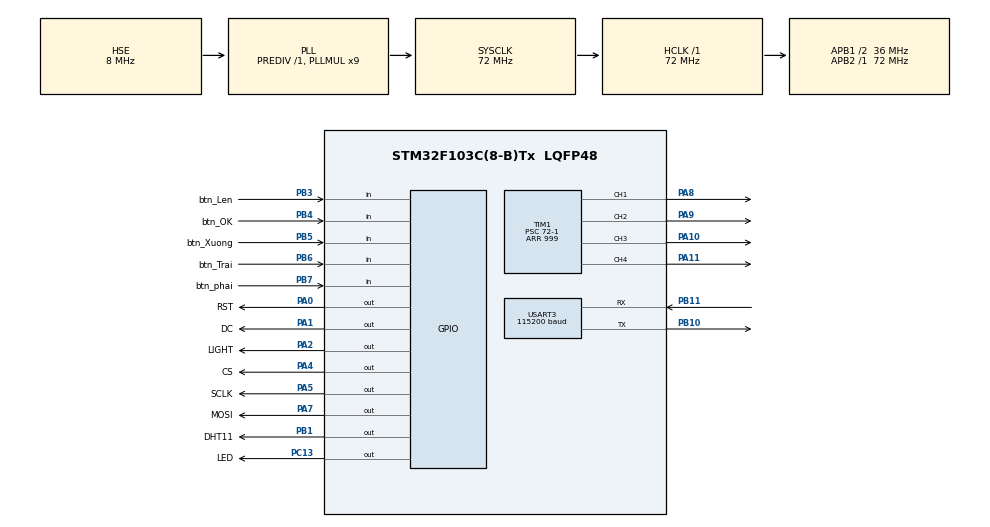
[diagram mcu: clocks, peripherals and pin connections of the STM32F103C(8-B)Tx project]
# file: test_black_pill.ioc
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Mcu.Family=STM32F1
Mcu.Name=STM32F103C(8-B)Tx
Mcu.Package=LQFP48
NVIC.PriorityGroup=NVIC_PRIORITYGROUP_4
PA0-WKUP.GPIO_Label=RST
PA0-WKUP.Signal=GPIO_Output
PA1.GPIO_Label=DC
PA1.Signal=GPIO_Output
PA10.Signal=S_TIM1_CH3
PA11.Signal=S_TIM1_CH4
PA13.Mode=Serial_Wire
PA13.Signal=SYS_JTMS-SWDIO
PA14.Mode=Serial_Wire
PA14.Signal=SYS_JTCK-SWCLK
PA2.GPIO_Label=LIGHT
PA2.Signal=GPIO_Output
PA4.GPIO_Label=CS
PA4.Signal=GPIO_Output
PA5.GPIO_Label=SCLK
PA5.Signal=GPIO_Output
PA7.GPIO_Label=MOSI
PA7.Signal=GPIO_Output
PA8.Signal=S_TIM1_CH1
PA9.Signal=S_TIM1_CH2
PB1.GPIO_Label=DHT11
PB1.Signal=GPIO_Output
PB10.Mode=Asynchronous
PB10.Signal=USART3_TX
PB11.Mode=Asynchronous
PB11.Signal=USART3_RX
PB3.GPIO_Label=btn_Len
PB3.GPIO_PuPd=GPIO_PULLUP
PB3.Signal=GPIO_Input
PB4.GPIO_Label=btn_OK
PB4.GPIO_PuPd=GPIO_PULLUP
PB4.Signal=GPIO_Input
PB5.GPIO_Label=btn_Xuong
PB5.GPIO_PuPd=GPIO_PULLUP
PB5.Signal=GPIO_Input
PB6.GPIO_Label=btn_Trai
PB6.GPIO_PuPd=GPIO_PULLUP
PB6.Signal=GPIO_Input
PB7.GPIO_Label=btn_phai
PB7.GPIO_PuPd=GPIO_PULLUP
PB7.Signal=GPIO_Input
PC13-TAMPER-RTC.GPIO_Label=LED
PC13-TAMPER-RTC.Signal=GPIO_Output
PD0-OSC_IN.Mode=HSE-External-Oscillator
PD0-OSC_IN.Signal=RCC_OSC_IN
PD1-OSC_OUT.Mode=HSE-External-Oscillator
PD1-OSC_OUT.Signal=RCC_OSC_OUT
ProjectManager.HeapSize=0x200
ProjectManager.StackSize=0x400
ProjectManager.TargetToolchain=STM32CubeIDE
RCC.AHBFreq_Value=72000000
RCC.APB1CLKDivider=RCC_HCLK_DIV2
RCC.APB1Freq_Value=36000000
RCC.APB1TimFreq_Value=72000000
RCC.APB2Freq_Value=72000000
RCC.APB2TimFreq_Value=72000000
RCC.HCLKFreq_Value=72000000
RCC.PLLMUL=RCC_PLL_MUL9
RCC.PLLSourceVirtual=RCC_PLLSOURCE_HSE
RCC.SYSCLKFreq_VALUE=72000000
RCC.SYSCLKSource=RCC_SYSCLKSOURCE_PLLCLK
RCC.USBFreq_Value=72000000
SH.S_TIM1_CH1.0=TIM1_CH1,PWM Generation1 CH1
SH.S_TIM1_CH2.0=TIM1_CH2,PWM Generation2 CH2
SH.S_TIM1_CH3.0=TIM1_CH3,PWM Generation3 CH3
SH.S_TIM1_CH4.0=TIM1_CH4,PWM Generation4 CH4
TIM1.Channel-PWM\ Generation1\ CH1=TIM_CHANNEL_1
TIM1.Channel-PWM\ Generation2\ CH2=TIM_CHANNEL_2
TIM1.Channel-PWM\ Generation3\ CH3=TIM_CHANNEL_3
TIM1.Channel-PWM\ Generation4\ CH4=TIM_CHANNEL_4
TIM1.Period=999
TIM1.Prescaler=72-1
TIM1.Pulse-PWM\ Generation1\ CH1=0
TIM1.Pulse-PWM\ Generation2\ CH2=0
TIM1.Pulse-PWM\ Generation3\ CH3=499
TIM1.Pulse-PWM\ Generation4\ CH4=499
TIM4.Period=0xffff-1
TIM4.Prescaler=72-1
USART3.BaudRate=115200
USART3.VirtualMode=VM_ASYNC
VP_TIM1_VS_ClockSourceINT.Mode=Internal
VP_TIM4_VS_ClockSourceINT.Mode=Internal
board=custom

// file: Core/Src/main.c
/* USER CODE BEGIN Header */
/**
  ******************************************************************************
  * @file           : main.c
  * @brief          : Main program body
  ******************************************************************************
  * @attention
  *
  * <h2><center>&copy; Copyright (c) 2020 STMicroelectronics.
  * All rights reserved.</center></h2>
  *
  * This software component is licensed by ST under BSD 3-Clause license,
  * the "License"; You may not use this file except in compliance with the
  * License. You may obtain a copy of the License at:
  *                        opensource.org/licenses/BSD-3-Clause
  *
  ******************************************************************************
  */
/* USER CODE END Header */

#include "main.h"

/* USER CODE BEGIN Includes */
#include "stdio.h"
#include "5110.h"
/* USER CODE END Includes */

/* USER CODE BEGIN PM */
void Delay_us(uint16_t time_us);								//Delay us using Timer1. (max 65535us)
void Set_Pin_Output(GPIO_TypeDef *GPIOx, uint16_t GPIO_Pin);	// Configure GPIO_OUTPUT
void Set_Pin_Input(GPIO_TypeDef *GPIOx, uint16_t GPIO_Pin);		// Configure GPIO_INPUT
void DHT_Start();												// Send a signal respons DHT11 sensor Start
uint8_t DHT_Check_Response();									// Check Response of DHT. return '1' if availible
uint8_t DHT_Read_Data();
/* USER CODE END PM */

TIM_HandleTypeDef htim1;
TIM_HandleTypeDef htim4;

UART_HandleTypeDef huart3;

/* USER CODE BEGIN PV */
 unsigned short Mode_menu=1,Mode_giamsat=1,Mode_cambien=1;
 char c;
 unsigned char vruc_Cycle;
 unsigned char vruc_Count;
 unsigned char T=40,H=100;
 uint8_t int_RH, dec_RH, int_T, dec_T, Check_Sum, Respones_State;
 uint8_t d1,d2,d3;
 uint8_t Mode_Color,Mode_LCD=1;
 uint16_t delaymain=0;
/* USER CODE END PV */

void SystemClock_Config(void);
static void MX_GPIO_Init(void);
static void MX_TIM1_Init(void);
static void MX_TIM4_Init(void);
static void MX_USART3_UART_Init(void);

int main(void)
{

  /* MCU Configuration--------------------------------------------------------*/

  /* Reset of all peripherals, Initializes the Flash interface and the Systick. */
  HAL_Init();

  /* Configure the system clock */
  SystemClock_Config();

  /* Initialize all configured peripherals */
  MX_GPIO_Init();
  MX_TIM1_Init();
  MX_TIM4_Init();
  MX_USART3_UART_Init();
  /* USER CODE BEGIN 2 */
	HAL_TIM_PWM_Start(&htim1,TIM_CHANNEL_1);
	HAL_TIM_PWM_Start(&htim1,TIM_CHANNEL_2);
	HAL_TIM_PWM_Start(&htim1,TIM_CHANNEL_3);
	HAL_TIM_Base_Start(&htim4);

// khoi tao cam bien DHT11
		DHT_Start();
		Respones_State = DHT_Check_Response();
		int_RH = DHT_Read_Data();
		dec_RH = DHT_Read_Data();
		int_T  = DHT_Read_Data();
		dec_T	 = DHT_Read_Data();
		Check_Sum = DHT_Read_Data();
// khoi tao LCD
		LCD5110_setup();
		PCD8544_backlight_state(ON);
		HAL_Delay(2000);
		PCD8544_backlight_state(OFF);
		HAL_Delay(2000);
		PCD8544_clear_screen(WHITE);
		PCD8544_backlight_state(ON);
		HAL_Delay(3000);
		PCD8544_clear_screen(WHITE);
  /* USER CODE END 2 */

  /* Infinite loop */
  /* USER CODE BEGIN WHILE */
  while (1)
  {
//		if(!HAL_GPIO_ReadPin(btn_Mode_Color_GPIO_Port, btn_Mode_Color_Pin))
//		{
//		while(!HAL_GPIO_ReadPin(btn_Mode_Color_GPIO_Port, btn_Mode_Color_Pin)); Mode_Color++;
//		}
//		if(!HAL_GPIO_ReadPin(btn_Mode_LCD_GPIO_Port,btn_Mode_LCD_Pin))
//		{
//		while(!HAL_GPIO_ReadPin(btn_Mode_LCD_GPIO_Port,btn_Mode_LCD_Pin)); Mode_LCD++;
//		}

	  // doc DHT11

		if( HAL_UART_Receive(&huart3, &c,1, 0)==HAL_OK)
		 {  switch (c)
		   {

				 case  'a' : {Mode_Color=1; printf("color1\r\n");break;}
				 case  'b' : {Mode_Color=2; printf("color2\r\n");break;}
				 case  'c' : {Mode_Color=3; printf("color3\r\n");break;}
				 case  'd' : {Mode_Color=4; printf("color4\r\n");break;}
				 case  'e' : {Mode_Color=5; printf("color5\r\n");break;}
				 case  'f' : {Mode_Color=6; vruc_Cycle = 0; vruc_Count = 0;printf("color6\r\n"); break;}
				 case  'g' : {Mode_LCD=1;printf("Mode Menu 1\r\n");break;}
				 case  'h' : {Mode_LCD=2;printf("Mode Menu 2\r\n");break;}
				 case  'i' : {Mode_LCD=3;printf("Mode Menu 3\r\n");break;}
				 case  'k' : {Mode_LCD=4;printf("Mode Menu 4\r\n");break;}
		   }

		 }
		switch(Mode_Color)
		{

			case 1:
			   {
					bam_xung (1,99,99 );
					break;
			   }
			case 2:
			   {
					bam_xung (99,1,99 );
					break;
			   }
			case 3:
			   {
					bam_xung (99,99,1);
					break;
			   }
			case 4:
			   {
					bam_xung (1,1,99);
					break;
			   }
			case 5:
			   {
					bam_xung (99,1,1);
					break;
				}
			case 6:
			   {
				   vruc_Count++;
				   if(vruc_Count > 99)
				   {
					   vruc_Count = 0;
					   vruc_Cycle++;

					   if(vruc_Cycle > 5)
					   {
						   vruc_Cycle = 0;

					   }

				   }

				   switch(vruc_Cycle){
					case 0:
						bam_xung (99,vruc_Count,1);
						break;
					case 1:
						bam_xung (99-vruc_Count,99,1);
						break;
					case 2:
						bam_xung (1,99,vruc_Count);
						break;
					case 3:
						bam_xung (1,99-vruc_Count,99);
						break;
					case 4:
						bam_xung (vruc_Count,1,99);
						break;
					case 5:
						bam_xung (99,1,99-vruc_Count);
						break;
					default:
						break;
				   }

				   break;
			   }
			default:
				Mode_Color=1;break;
		}
		switch(Mode_LCD)
		 {
		  case 1: {
					//che do hien thi MAIN MENU
					PCD8544_clear_screen(WHITE);
					PCD8544_print_string(1, 0, "    MAIN MENU   ", BLACK);
					PCD8544_print_string(1, 2, "Cam Bien", WHITE);
					PCD8544_print_string(1, 3, "Giam Sat", WHITE);
					PCD8544_print_string(1, 4, "R G B", WHITE);

					if(!HAL_GPIO_ReadPin(btn_Xuong_GPIO_Port,btn_Xuong_Pin))
					{
						while(!HAL_GPIO_ReadPin(btn_Xuong_GPIO_Port,btn_Xuong_Pin));
						Mode_menu++;
						if(Mode_menu>3) Mode_menu=3;
					}
					if(!HAL_GPIO_ReadPin(btn_Len_GPIO_Port,btn_Len_Pin))
					{
						while(!HAL_GPIO_ReadPin(btn_Len_GPIO_Port,btn_Len_Pin));
						Mode_menu--;
						if(Mode_menu<1) Mode_menu=1;
					}
					switch(Mode_menu)
					   {
						case 1:
						{
							PCD8544_print_string(1, 2, "Cam Bien",BLACK);
							PCD8544_print_string(1, 3, "Giam Sat", WHITE);
							PCD8544_print_string(1, 4, "R G B", WHITE);
							if(!HAL_GPIO_ReadPin(btn_OK_GPIO_Port, btn_OK_Pin))
							{
								while(!HAL_GPIO_ReadPin(btn_OK_GPIO_Port, btn_OK_Pin));
								Mode_LCD=2;
							}
							break;
						}
						case 2:
						{
							PCD8544_print_string(1, 2, "Cam Bien", WHITE);
							PCD8544_print_string(1, 3, "Giam Sat", BLACK);
							PCD8544_print_string(1, 4, "R G B", WHITE);
							if(!HAL_GPIO_ReadPin(btn_OK_GPIO_Port, btn_OK_Pin))
							{
								while(!HAL_GPIO_ReadPin(btn_OK_GPIO_Port, btn_OK_Pin));
								Mode_LCD=3;
							}
							break;
						}
						case 3:
						{
							PCD8544_print_string(1, 2, "Cam Bien", WHITE);
							PCD8544_print_string(1, 3, "Giam Sat", WHITE);
							PCD8544_print_string(1, 4, "R G B", BLACK);
							if(!HAL_GPIO_ReadPin(btn_OK_GPIO_Port, btn_OK_Pin))
							{
								while(!HAL_GPIO_ReadPin(btn_OK_GPIO_Port, btn_OK_Pin));
								Mode_LCD=4;
							}
							break;
						}
						default: Mode_menu=1;break;
					}
					break;
				  }
		  case 2: {
					//che do hien thi nhiet do va do am len LCD
					PCD8544_clear_screen(WHITE);
					PCD8544_print_string(1, 0, "    Cam Bien    ", BLACK);
					PCD8544_print_string(1, 2, "Nhiet Do:", WHITE);print_int(45, 2,int_T, WHITE); PCD8544_set_cursor(70,2);PCD8544_print_char('C',WHITE);
					PCD8544_print_string(1, 3, "Do Am:", WHITE);print_int(45, 3,int_RH, WHITE); PCD8544_set_cursor(70,3);PCD8544_print_char('%',WHITE);
					if(!HAL_GPIO_ReadPin(btn_phai_GPIO_Port, btn_phai_Pin))
					{
						while(!HAL_GPIO_ReadPin(btn_phai_GPIO_Port, btn_phai_Pin));
                        Mode_cambien=1;
					}
					if(!HAL_GPIO_ReadPin(btn_Trai_GPIO_Port, btn_Trai_Pin))
					{
						while(!HAL_GPIO_ReadPin(btn_Trai_GPIO_Port, btn_Trai_Pin));
						Mode_cambien=2;
					}
					switch(Mode_cambien)
					{
					 case 1:
					 {int F= (9*int_T)/5+32;
					   PCD8544_print_string(1, 2, "Nhiet Do:", WHITE);print_int(45, 2,F, WHITE); PCD8544_set_cursor(70,2);PCD8544_print_char('F',WHITE);
					   PCD8544_print_string(1, 3, "Do Am:", WHITE);print_int(45, 3,int_RH, WHITE); PCD8544_set_cursor(70,3);PCD8544_print_char('%',WHITE);
					   break;
					 }
					 case 2:
					 {
					   PCD8544_print_string(1, 2, "Nhiet Do:", WHITE);print_int(45, 2,int_T, WHITE); PCD8544_set_cursor(70,2);PCD8544_print_char('C',WHITE);
					   PCD8544_print_string(1, 3, "Do Am:", WHITE);print_int(45, 3,int_RH, WHITE); PCD8544_set_cursor(70,3);PCD8544_print_char('%',WHITE);
					   break;
					 }
					}
					if(int_T>=T&&int_RH<H)
					{
					 PCD8544_print_string(1, 4, "     OVER T!    ", BLACK);	printf("OVER TEMPT!\r\n");
					}
					else if(int_RH>=H&&int_T<T)
					{
						PCD8544_print_string(1, 4, "     OVER H!    ", BLACK); printf("OVER HUM!\r\n");
					}
					else if(int_T>=T&&int_RH>=H)
					{
						PCD8544_print_string(1, 4, "    OVER T&H!   ", BLACK); printf("OVER HUM!\r\n");
					}
					else PCD8544_print_string(1, 4, "     SAVE    ", WHITE);
					if(!HAL_GPIO_ReadPin(btn_OK_GPIO_Port, btn_OK_Pin))
					{
						while(!HAL_GPIO_ReadPin(btn_OK_GPIO_Port, btn_OK_Pin));
						Mode_LCD=1;
					}
					break;
				  }
		  case 3: {
			        //che do giam sat nhiet do va do am len LCD
					PCD8544_clear_screen(WHITE);
					PCD8544_print_string(1, 0, "    Giam Sat    ", BLACK);
					PCD8544_print_string(1, 2, "Over T:", WHITE);print_int(45, 2,T, WHITE); PCD8544_set_cursor(70,2);PCD8544_print_char('C',WHITE);
					PCD8544_print_string(1, 3, "Over H:", WHITE);print_int(45, 3,H, WHITE); PCD8544_set_cursor(70,3);PCD8544_print_char('%',WHITE);

			        if(!HAL_GPIO_ReadPin(btn_Xuong_GPIO_Port,btn_Xuong_Pin))
					{
						while(!HAL_GPIO_ReadPin(btn_Xuong_GPIO_Port,btn_Xuong_Pin));
						Mode_giamsat++;
						if(Mode_giamsat>2) Mode_giamsat=2;
					}
					if(!HAL_GPIO_ReadPin(btn_Len_GPIO_Port,btn_Len_Pin))
					{
						while(!HAL_GPIO_ReadPin(btn_Len_GPIO_Port,btn_Len_Pin));
						Mode_giamsat--;
						if(Mode_giamsat<1) Mode_giamsat=1;
					}
					switch(Mode_giamsat)
					{
					 case 1:
					 {
						PCD8544_print_string(1, 2, "Over T:", BLACK);print_int(45, 2,T, WHITE); PCD8544_set_cursor(70,2);PCD8544_print_char('C',WHITE);
						PCD8544_print_string(1, 3, "Over H:", WHITE);print_int(45, 3,H, WHITE); PCD8544_set_cursor(70,3);PCD8544_print_char('%',WHITE);
						if(!HAL_GPIO_ReadPin(btn_phai_GPIO_Port, btn_phai_Pin))
						{
						  while(!HAL_GPIO_ReadPin(btn_phai_GPIO_Port, btn_phai_Pin));
						  T++;
						  if(T>50) T=50;
						}
						if(!HAL_GPIO_ReadPin(btn_Trai_GPIO_Port, btn_Trai_Pin))
						{
						  while(!HAL_GPIO_ReadPin(btn_Trai_GPIO_Port, btn_Trai_Pin));
						  T--;
						  if(T<0) T=0;
						}
						break;
					 }
					 case 2:
					 {
						PCD8544_print_string(1, 2, "Over T:",WHITE );print_int(45, 2,T, WHITE); PCD8544_set_cursor(70,2);PCD8544_print_char('C',WHITE);
						PCD8544_print_string(1, 3, "Over H:", BLACK);print_int(45, 3,H, WHITE); PCD8544_set_cursor(70,3);PCD8544_print_char('%',WHITE);
						if(!HAL_GPIO_ReadPin(btn_phai_GPIO_Port, btn_phai_Pin))
						{
						  while(!HAL_GPIO_ReadPin(btn_phai_GPIO_Port, btn_phai_Pin));
						  H++;
						  if(H>100) H=100;
						}
						if(!HAL_GPIO_ReadPin(btn_Trai_GPIO_Port, btn_Trai_Pin))
						{
						  while(!HAL_GPIO_ReadPin(btn_Trai_GPIO_Port, btn_Trai_Pin));
						  H--;
						  if(H<20) H=20;
						}
						break;
					 }
					}

					if(!HAL_GPIO_ReadPin(btn_OK_GPIO_Port, btn_OK_Pin))
					{
						while(!HAL_GPIO_ReadPin(btn_OK_GPIO_Port, btn_OK_Pin));
						Mode_LCD=1;
					}
					break;
				  }
		  case 4: {
					//hien thi che do RGB len LCD
					PCD8544_clear_screen(WHITE);
					if(!HAL_GPIO_ReadPin(btn_Len_GPIO_Port, btn_Len_Pin))
					{
					  while(!HAL_GPIO_ReadPin(btn_Len_GPIO_Port, btn_Len_Pin));
					  Mode_Color++;
					}
					if(!HAL_GPIO_ReadPin(btn_Xuong_GPIO_Port, btn_Xuong_Pin))
					{
					  while(!HAL_GPIO_ReadPin(btn_Xuong_GPIO_Port, btn_Xuong_Pin));
					  Mode_Color--;
					}
					PCD8544_print_string(1, 0, "      R G B     ", BLACK);
					PCD8544_print_string(1, 1, "Color:", WHITE);print_int(45, 1,Mode_Color, WHITE);
					PCD8544_print_string(1, 2, "% R:", WHITE);print_int(45, 2,d1, WHITE);
					PCD8544_print_string(1, 3, "% G:", WHITE);print_int(45, 3,d2, WHITE);
					PCD8544_print_string(1, 4, "% B:", WHITE);print_int(45, 4,d3, WHITE);
					if(!HAL_GPIO_ReadPin(btn_OK_GPIO_Port, btn_OK_Pin))
					{
						while(!HAL_GPIO_ReadPin(btn_OK_GPIO_Port, btn_OK_Pin));
						Mode_LCD=1;
					}
					break;
				  }
		 }
		if(delaymain>20)
		{
			DHT_Start();
			Respones_State = DHT_Check_Response();
			int_RH = DHT_Read_Data();
			dec_RH = DHT_Read_Data();
			int_T  = DHT_Read_Data();
			dec_T  = DHT_Read_Data();
			Check_Sum = DHT_Read_Data();
			printf("nhiet do: %d\r\n", int_T);
			printf("Do am: %d\r\n", int_RH);
			//HAL_Delay(2000);

		 delaymain=0;
		}
		HAL_Delay(50);
		delaymain++;
    /* USER CODE END WHILE */

  }
}

void SystemClock_Config(void)
{
  RCC_OscInitTypeDef RCC_OscInitStruct = {0};
  RCC_ClkInitTypeDef RCC_ClkInitStruct = {0};

  /** Initializes the CPU, AHB and APB busses clocks
  */
  RCC_OscInitStruct.OscillatorType = RCC_OSCILLATORTYPE_HSE;
  RCC_OscInitStruct.HSEState = RCC_HSE_ON;
  RCC_OscInitStruct.HSEPredivValue = RCC_HSE_PREDIV_DIV1;
  RCC_OscInitStruct.HSIState = RCC_HSI_ON;
  RCC_OscInitStruct.PLL.PLLState = RCC_PLL_ON;
  RCC_OscInitStruct.PLL.PLLSource = RCC_PLLSOURCE_HSE;
  RCC_OscInitStruct.PLL.PLLMUL = RCC_PLL_MUL9;
  if (HAL_RCC_OscConfig(&RCC_OscInitStruct) != HAL_OK)
  {
    Error_Handler();
  }
  /** Initializes the CPU, AHB and APB busses clocks
  */
  RCC_ClkInitStruct.ClockType = RCC_CLOCKTYPE_HCLK|RCC_CLOCKTYPE_SYSCLK
                              |RCC_CLOCKTYPE_PCLK1|RCC_CLOCKTYPE_PCLK2;
  RCC_ClkInitStruct.SYSCLKSource = RCC_SYSCLKSOURCE_PLLCLK;
  RCC_ClkInitStruct.AHBCLKDivider = RCC_SYSCLK_DIV1;
  RCC_ClkInitStruct.APB1CLKDivider = RCC_HCLK_DIV2;
  RCC_ClkInitStruct.APB2CLKDivider = RCC_HCLK_DIV1;

  if (HAL_RCC_ClockConfig(&RCC_ClkInitStruct, FLASH_LATENCY_2) != HAL_OK)
  {
    Error_Handler();
  }
}

static void MX_TIM1_Init(void)
{

  TIM_ClockConfigTypeDef sClockSourceConfig = {0};
  TIM_MasterConfigTypeDef sMasterConfig = {0};
  TIM_OC_InitTypeDef sConfigOC = {0};
  TIM_BreakDeadTimeConfigTypeDef sBreakDeadTimeConfig = {0};

  htim1.Instance = TIM1;
  htim1.Init.Prescaler = 72-1;
  htim1.Init.CounterMode = TIM_COUNTERMODE_UP;
  htim1.Init.Period = 999;
  htim1.Init.ClockDivision = TIM_CLOCKDIVISION_DIV1;
  htim1.Init.RepetitionCounter = 0;
  htim1.Init.AutoReloadPreload = TIM_AUTORELOAD_PRELOAD_DISABLE;
  if (HAL_TIM_Base_Init(&htim1) != HAL_OK)
  {
    Error_Handler();
  }
  sClockSourceConfig.ClockSource = TIM_CLOCKSOURCE_INTERNAL;
  if (HAL_TIM_ConfigClockSource(&htim1, &sClockSourceConfig) != HAL_OK)
  {
    Error_Handler();
  }
  if (HAL_TIM_PWM_Init(&htim1) != HAL_OK)
  {
    Error_Handler();
  }
  sMasterConfig.MasterOutputTrigger = TIM_TRGO_RESET;
  sMasterConfig.MasterSlaveMode = TIM_MASTERSLAVEMODE_DISABLE;
  if (HAL_TIMEx_MasterConfigSynchronization(&htim1, &sMasterConfig) != HAL_OK)
  {
    Error_Handler();
  }
  sConfigOC.OCMode = TIM_OCMODE_PWM1;
  sConfigOC.Pulse = 0;
  sConfigOC.OCPolarity = TIM_OCPOLARITY_HIGH;
  sConfigOC.OCNPolarity = TIM_OCNPOLARITY_HIGH;
  sConfigOC.OCFastMode = TIM_OCFAST_DISABLE;
  sConfigOC.OCIdleState = TIM_OCIDLESTATE_RESET;
  sConfigOC.OCNIdleState = TIM_OCNIDLESTATE_RESET;
  if (HAL_TIM_PWM_ConfigChannel(&htim1, &sConfigOC, TIM_CHANNEL_1) != HAL_OK)
  {
    Error_Handler();
  }
  if (HAL_TIM_PWM_ConfigChannel(&htim1, &sConfigOC, TIM_CHANNEL_2) != HAL_OK)
  {
    Error_Handler();
  }
  sConfigOC.Pulse = 499;
  if (HAL_TIM_PWM_ConfigChannel(&htim1, &sConfigOC, TIM_CHANNEL_3) != HAL_OK)
  {
    Error_Handler();
  }
  if (HAL_TIM_PWM_ConfigChannel(&htim1, &sConfigOC, TIM_CHANNEL_4) != HAL_OK)
  {
    Error_Handler();
  }
  sBreakDeadTimeConfig.OffStateRunMode = TIM_OSSR_DISABLE;
  sBreakDeadTimeConfig.OffStateIDLEMode = TIM_OSSI_DISABLE;
  sBreakDeadTimeConfig.LockLevel = TIM_LOCKLEVEL_OFF;
  sBreakDeadTimeConfig.DeadTime = 0;
  sBreakDeadTimeConfig.BreakState = TIM_BREAK_DISABLE;
  sBreakDeadTimeConfig.BreakPolarity = TIM_BREAKPOLARITY_HIGH;
  sBreakDeadTimeConfig.AutomaticOutput = TIM_AUTOMATICOUTPUT_DISABLE;
  if (HAL_TIMEx_ConfigBreakDeadTime(&htim1, &sBreakDeadTimeConfig) != HAL_OK)
  {
    Error_Handler();
  }
  HAL_TIM_MspPostInit(&htim1);

}

static void MX_TIM4_Init(void)
{

  TIM_ClockConfigTypeDef sClockSourceConfig = {0};
  TIM_MasterConfigTypeDef sMasterConfig = {0};

  htim4.Instance = TIM4;
  htim4.Init.Prescaler = 72-1;
  htim4.Init.CounterMode = TIM_COUNTERMODE_UP;
  htim4.Init.Period = 0xffff-1;
  htim4.Init.ClockDivision = TIM_CLOCKDIVISION_DIV1;
  htim4.Init.AutoReloadPreload = TIM_AUTORELOAD_PRELOAD_DISABLE;
  if (HAL_TIM_Base_Init(&htim4) != HAL_OK)
  {
    Error_Handler();
  }
  sClockSourceConfig.ClockSource = TIM_CLOCKSOURCE_INTERNAL;
  if (HAL_TIM_ConfigClockSource(&htim4, &sClockSourceConfig) != HAL_OK)
  {
    Error_Handler();
  }
  sMasterConfig.MasterOutputTrigger = TIM_TRGO_RESET;
  sMasterConfig.MasterSlaveMode = TIM_MASTERSLAVEMODE_DISABLE;
  if (HAL_TIMEx_MasterConfigSynchronization(&htim4, &sMasterConfig) != HAL_OK)
  {
    Error_Handler();
  }

}

static void MX_USART3_UART_Init(void)
{

  huart3.Instance = USART3;
  huart3.Init.BaudRate = 115200;
  huart3.Init.WordLength = UART_WORDLENGTH_8B;
  huart3.Init.StopBits = UART_STOPBITS_1;
  huart3.Init.Parity = UART_PARITY_NONE;
  huart3.Init.Mode = UART_MODE_TX_RX;
  huart3.Init.HwFlowCtl = UART_HWCONTROL_NONE;
  huart3.Init.OverSampling = UART_OVERSAMPLING_16;
  if (HAL_UART_Init(&huart3) != HAL_OK)
  {
    Error_Handler();
  }

}

static void MX_GPIO_Init(void)
{
  GPIO_InitTypeDef GPIO_InitStruct = {0};

  /* GPIO Ports Clock Enable */
  __HAL_RCC_GPIOC_CLK_ENABLE();
  __HAL_RCC_GPIOD_CLK_ENABLE();
  __HAL_RCC_GPIOA_CLK_ENABLE();
  __HAL_RCC_GPIOB_CLK_ENABLE();

  /*Configure GPIO pin Output Level */
  HAL_GPIO_WritePin(LED_GPIO_Port, LED_Pin, GPIO_PIN_RESET);

  /*Configure GPIO pin Output Level */
  HAL_GPIO_WritePin(GPIOA, RST_Pin|DC_Pin|LIGHT_Pin|CS_Pin
                          |SCLK_Pin|MOSI_Pin, GPIO_PIN_RESET);

  /*Configure GPIO pin Output Level */
  HAL_GPIO_WritePin(DHT11_GPIO_Port, DHT11_Pin, GPIO_PIN_RESET);

  /*Configure GPIO pin : LED_Pin */
  GPIO_InitStruct.Pin = LED_Pin;
  GPIO_InitStruct.Mode = GPIO_MODE_OUTPUT_PP;
  GPIO_InitStruct.Pull = GPIO_NOPULL;
  GPIO_InitStruct.Speed = GPIO_SPEED_FREQ_LOW;
  HAL_GPIO_Init(LED_GPIO_Port, &GPIO_InitStruct);

  /*Configure GPIO pins : RST_Pin DC_Pin LIGHT_Pin CS_Pin
                           SCLK_Pin MOSI_Pin */
  GPIO_InitStruct.Pin = RST_Pin|DC_Pin|LIGHT_Pin|CS_Pin
                          |SCLK_Pin|MOSI_Pin;
  GPIO_InitStruct.Mode = GPIO_MODE_OUTPUT_PP;
  GPIO_InitStruct.Pull = GPIO_NOPULL;
  GPIO_InitStruct.Speed = GPIO_SPEED_FREQ_LOW;
  HAL_GPIO_Init(GPIOA, &GPIO_InitStruct);

  /*Configure GPIO pin : DHT11_Pin */
  GPIO_InitStruct.Pin = DHT11_Pin;
  GPIO_InitStruct.Mode = GPIO_MODE_OUTPUT_PP;
  GPIO_InitStruct.Pull = GPIO_NOPULL;
  GPIO_InitStruct.Speed = GPIO_SPEED_FREQ_LOW;
  HAL_GPIO_Init(DHT11_GPIO_Port, &GPIO_InitStruct);

  /*Configure GPIO pins : btn_Len_Pin btn_OK_Pin btn_Xuong_Pin btn_Trai_Pin
                           btn_phai_Pin */
  GPIO_InitStruct.Pin = btn_Len_Pin|btn_OK_Pin|btn_Xuong_Pin|btn_Trai_Pin
                          |btn_phai_Pin;
  GPIO_InitStruct.Mode = GPIO_MODE_INPUT;
  GPIO_InitStruct.Pull = GPIO_PULLUP;
  HAL_GPIO_Init(GPIOB, &GPIO_InitStruct);

}

/* USER CODE BEGIN 4 */
void bam_xung (int duty1,int duty2, int duty3 )
{
	d1=duty1;
	d2=duty2;
	d3=duty3;
	//duty1 =pwm1;duty2=pwm2;duty3=pwm3;
	__HAL_TIM_SET_COMPARE(&htim1,TIM_CHANNEL_1,10*duty1);
	__HAL_TIM_SET_COMPARE(&htim1,TIM_CHANNEL_2,10*duty2);
	__HAL_TIM_SET_COMPARE(&htim1,TIM_CHANNEL_3,10*duty3);
}

void Delay_us(uint16_t time_us)
{
	__HAL_TIM_SET_COUNTER(&htim4, 0);
	while(__HAL_TIM_GET_COUNTER(&htim4) <= time_us)
	{

	}
}

void Set_Pin_Output(GPIO_TypeDef *GPIOx, uint16_t GPIO_Pin)
{
	GPIO_InitTypeDef GPIO_InitStruct = {0};

	GPIO_InitStruct.Pin = GPIO_Pin;
	GPIO_InitStruct.Mode = GPIO_MODE_OUTPUT_PP;
	GPIO_InitStruct.Pull = GPIO_NOPULL;
	GPIO_InitStruct.Speed = GPIO_SPEED_FREQ_LOW;
	HAL_GPIO_Init(GPIOx, &GPIO_InitStruct);
}

void Set_Pin_Input(GPIO_TypeDef *GPIOx, uint16_t GPIO_Pin)
{
	GPIO_InitTypeDef GPIO_InitStruct = {0};

	GPIO_InitStruct.Pin = GPIO_Pin;
	GPIO_InitStruct.Mode = GPIO_MODE_INPUT;
	GPIO_InitStruct.Pull = GPIO_NOPULL;
	HAL_GPIO_Init(GPIOx, &GPIO_InitStruct);
}

void DHT_Start()
{
	Set_Pin_Output(DHT11_GPIO_Port, DHT11_Pin);

	HAL_GPIO_WritePin(DHT11_GPIO_Port, DHT11_Pin, GPIO_PIN_RESET);
	Delay_us(18000);	// delay 18ms

	Set_Pin_Input(DHT11_GPIO_Port, DHT11_Pin);

}

uint8_t DHT_Check_Response()
{
	uint8_t response=0;
	// wait for 40 us because length's signal is LOW 80us
	Delay_us(40);
	if(!HAL_GPIO_ReadPin(DHT11_GPIO_Port, DHT11_Pin))       // if LOW is ok
	{
		// wait for 40 us because length's signal is LOW 80us
		Delay_us(80);
		if(HAL_GPIO_ReadPin(DHT11_GPIO_Port, DHT11_Pin))
		{
			response =1;
		}
	}
	// waint Data_Pin pull LOW
	while(HAL_GPIO_ReadPin(DHT11_GPIO_Port, DHT11_Pin))
	{

	}
	return response;
}

uint8_t DHT_Read_Data()
{
	uint8_t data=0x00;
	for(int i=0; i<8; i++)
	{
		// wait Data_Pin Set LOW
		while(!HAL_GPIO_ReadPin(DHT11_GPIO_Port, DHT11_Pin))
		{

		}
		Delay_us(40); // wait 40us between 28us and 70 us
		// if bit == 1
		if(HAL_GPIO_ReadPin(DHT11_GPIO_Port, DHT11_Pin))
		{
			data |= (1<<(7-i));
		}
		else
		{

		}
		while ((HAL_GPIO_ReadPin (DHT11_GPIO_Port, DHT11_Pin)));  // wait for the pin to go low
	}
	return data;
}

#ifdef __GNUC__
 /* With GCC/RAISONANCE, small printf (option LD Linker->Libraries->Small printf
 set to 'Yes') calls __io_putchar() */
 #define PUTCHAR_PROTOTYPE int __io_putchar(int ch)
#else
 #define PUTCHAR_PROTOTYPE int fputc(int ch, FILE *f)
#endif /* __GNUC__ */

/**
 * @brief Retargets the C library printf function to the USART.
 * @param None
 * @retval None
 */
PUTCHAR_PROTOTYPE
{
 /* Place your implementation of fputc here */
 /* e.g. write a character to the USART */
 HAL_UART_Transmit(&huart3, (uint8_t *)&ch, 1, 100);
 return ch;
}
/* USER CODE END 4 */

void Error_Handler(void)
{
}

/************************ (C) COPYRIGHT STMicroelectronics *****END OF FILE****/
